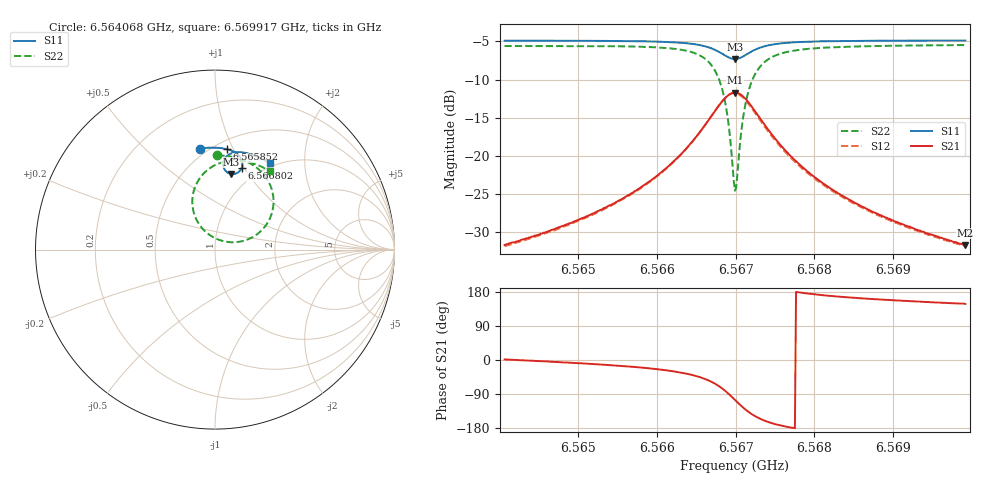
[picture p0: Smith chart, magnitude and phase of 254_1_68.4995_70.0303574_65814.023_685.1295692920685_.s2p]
#  HZ  S  RI  R  50.00
! Rohde & Schwarz Vector Network Analyzer
! Rohde-Schwarz,ZNB20-2Port,1311601062101988,3.16
! Created: UTC 3/20/2024, 4:59:58 PM
! freq[Hz]  re:S11  im:S11  re:S21  im:S21  re:S12  im:S12  re:S22  im:S22
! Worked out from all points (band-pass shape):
!   401 points, 6.564068 GHz to 6.569917 GHz, reference 50 ohm
!   highest |S21| = -11.70 dB at 6.566992 GHz (marker M1); lowest = -31.7 dB at 6.569917 GHz (marker M2)
!   |S21| within 3 dB of the highest: 6.566699 GHz to 6.567285 GHz (586.2 kHz wide, 0.00893 % of centre)
!   lowest |S11| = -7.3 dB at 6.566992 GHz (marker M3), VSWR 2.51, Z = 40.3 + j41.7 ohm
!   |S11| at or under -10 dB: nowhere
!   |S22| runs from -24.6 to -5.5 dB; largest |S21 - S12| = 0.012
!   S11 on the Smith chart (normalised r, x): 6.564068 GHz: 0.45, +0.75; 6.565852 GHz: 0.58, +0.94; 6.566802 GHz: 0.83, +0.97; 6.569917 GHz: 0.94, +1.35
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6.5640677e9  -0.0849 0.5626  0.026 0.000723  0.0256 0.00023  0.0136 0.5249
6.5650474e9  -0.00578 0.568  0.0385 -0.00594  0.0377 -0.00662  0.1032 0.515
6.5658517e9  0.0664 0.5593  0.0607 -0.0232  0.0596 -0.024  0.1988 0.4789
6.5660272e9  0.0841 0.5542  0.0688 -0.0319  0.0676 -0.0326  0.2255 0.4612
6.5663489e9  0.1194 0.5363  0.0888 -0.0618  0.0872 -0.0631  0.2839 0.4018
6.5665682e9  0.1442 0.5097  0.1015 -0.108  0.0993 -0.11  0.3218 0.3129
6.5666998e9  0.1528 0.4817  0.0971 -0.1567  0.0933 -0.1596  0.3209 0.2197
6.5668022e9  0.1479 0.4528  0.0711 -0.2066  0.0647 -0.2092  0.2765 0.126
6.5668899e9  0.1277 0.4295  0.0198 -0.2447  0.0103 -0.2455  0.1836 0.0569
6.5669192e9  0.1174 0.4242  -0.00371 -0.2523  -0.0138 -0.2515  0.1409 0.0446
6.5669631e9  0.0997 0.4208  -0.0426 -0.2553  -0.0531 -0.2517  0.0719 0.0423
6.5669923e9  0.0875 0.422  -0.0691 -0.2506  -0.0792 -0.2453  0.026 0.0531
6.5670216e9  0.0759 0.4261  -0.094 -0.241  -0.1033 -0.2341  -0.0164 0.0728
6.56708e9  0.0572 0.4407  -0.1344 -0.2096  -0.1408 -0.2001  -0.0824 0.1327
6.5671239e9  0.0489 0.4553  -0.1539 -0.1803  -0.1581 -0.1702  -0.1116 0.1864
6.5671824e9  0.0453 0.475  -0.1661 -0.141  -0.1675 -0.1314  -0.1261 0.2562
6.5672555e9  0.0494 0.4965  -0.1661 -0.099  -0.1651 -0.0909  -0.1178 0.329
6.5675187e9  0.0882 0.5347  -0.1246 -0.0217  -0.122 -0.0181  -0.023 0.4573
6.5679721e9  0.1468 0.5423  -0.0741 0.00804  -0.0725 0.00911  0.0964 0.4965
6.5684108e9  0.1896 0.5344  -0.051 0.0132  -0.0499 0.0137  0.1654 0.4923
6.5689518e9  0.2345 0.5189  -0.0358 0.0142  -0.0351 0.0145  0.2255 0.4759
6.5699169e9  0.304 0.4833  -0.022 0.0138  -0.0216 0.0138  0.3057 0.4365
